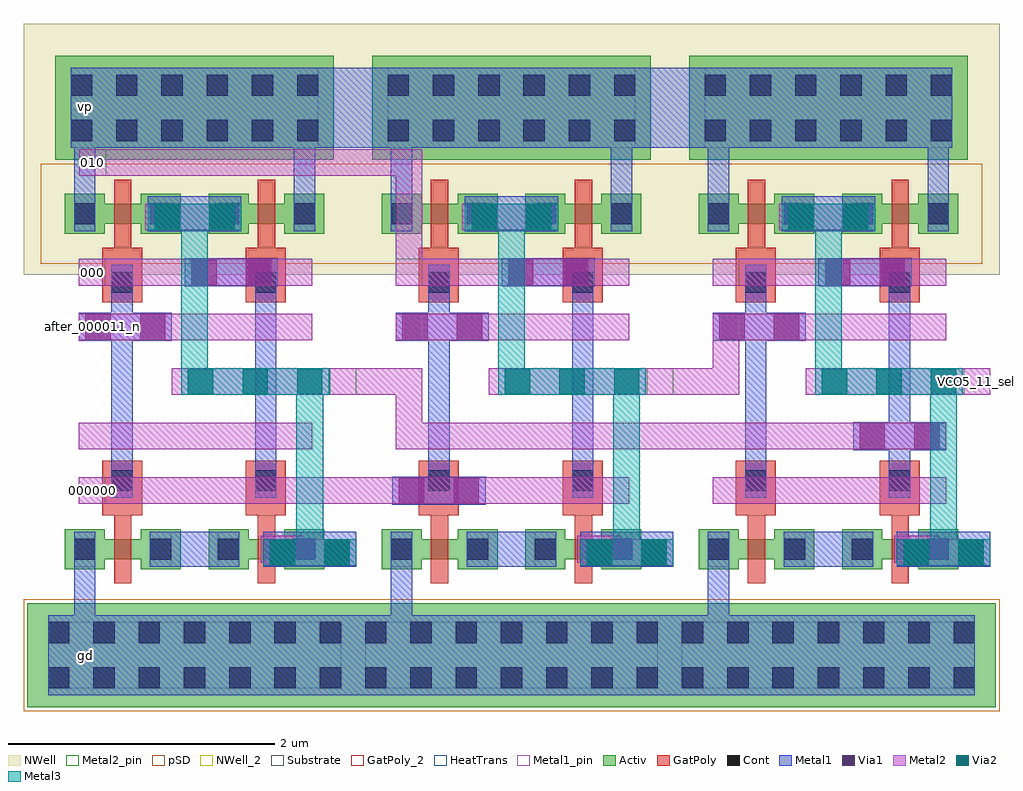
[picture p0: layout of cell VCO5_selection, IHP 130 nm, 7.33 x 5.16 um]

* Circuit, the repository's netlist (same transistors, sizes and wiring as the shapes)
** sch_path: /foss/designs/CHIP-PLL/schematics/divider/schematics/VCO5_selection.sch
.subckt VCO5_selection gd VP VCO5_11_sel 000 after_000011_n 010 000000
*.PININFO gd:B VP:B VCO5_11_sel:O 000:I after_000011_n:I 010:I 000000:I
x1 VP gd 010 net2 000000 NAND_2in_dek
x2 VP gd net1 VCO5_11_sel net2 NAND_2in_dek
x3 VP gd 000 net1 after_000011_n NAND_2in_dek
.ends

* expanding   symbol:  NAND_2in_dek.sym # of pins=5
** sym_path: /foss/designs/CHIP-PLL/schematics/divider/schematics/NAND_2in_dek.sym
** sch_path: /foss/designs/CHIP-PLL/schematics/divider/schematics/NAND_2in_dek.sch
.subckt NAND_2in_dek VP GND a y b
*.PININFO y:O GND:B a:I VP:B b:I
MM1 y a net1 GND sg13_lv_nmos w=0.15u l=0.13u ng=1
MM3 net1 b GND GND sg13_lv_nmos w=0.15u l=0.13u ng=1
MM2 y b VP VP sg13_lv_pmos w=0.15u l=0.13u ng=1
MM4 y a VP VP sg13_lv_pmos w=0.15u l=0.13u ng=1
.ends

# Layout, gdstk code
from math import pi, radians
import gdstk
lib = gdstk.Library(unit=1e-6, precision=1e-09)
def R(c, l, rs):  # rectangles x0, y0, x1, y1
    for r in rs: c.add(gdstk.rectangle(r[:2], r[2:], *l))
def A(c, l, x, y, w, h, nx, ny, dx, dy):  # array of equal rectangles
    R(c, l, [(x+i*dx, y+j*dy, x+i*dx+w, y+j*dy+h) for i in range(nx) for j in range(ny)])
Activ = (1, 0)
GatPoly = (5, 0)
GatPoly_2 = (5, 2)
Cont = (6, 0)
Metal1 = (8, 0)
Metal1_pin = (8, 2)
Metal2 = (10, 0)
Metal2_pin = (10, 2)
pSD = (14, 0)
Via1 = (19, 0)
Via2 = (29, 0)
Metal3 = (30, 0)
NWell = (31, 0)
NWell_2 = (31, 2)
Substrate = (40, 0)
HeatTrans = (51, 0)

via_4_1 = lib.new_cell('Via$4$1')
R(via_4_1, Metal2, [(-0.1,-0.35,0.1,0.35)])
R(via_4_1, Via2, [(-0.095,-0.3,0.095,-0.11), (-0.095,0.11,0.095,0.3)])
R(via_4_1, Metal3, [(-0.1,-0.35,0.1,0.35)])

via_2_1 = lib.new_cell('Via$2$1')
R(via_2_1, Metal1, [(-0.105,-0.35,0.105,0.35)])
R(via_2_1, Metal2, [(-0.1,-0.35,0.1,0.35)])
R(via_2_1, Via1, [(-0.095,-0.3,0.095,-0.11), (-0.095,0.11,0.095,0.3)])

ntap1_1 = lib.new_cell('ntap1$1')
R(ntap1_1, Activ, [(0,0,2.09,0.78)])
A(ntap1_1, Cont, 0.115, 0.14, 0.16, 0.16, 6, 2, 0.34, 0.34)
R(ntap1_1, Metal1, [(0.115,0.09,1.975,0.69)])
R(ntap1_1, Metal1_pin, [(0.115,0.09,1.975,0.69), (0.115,0.14,1.975,0.64)])
R(ntap1_1, NWell, [(-0.24,-0.24,2.33,1.02), (0,0,2.09,0.78)])
R(ntap1_1, NWell_2, [(0,0,2.09,0.78)])
ntap1_1.add(gdstk.Label('well', (1.045,0.01), layer=63, texttype=0))
ntap1_1.add(gdstk.Label('well', (1.045,0.01), layer=31, texttype=0))

ptap1_1 = lib.new_cell('ptap1$1')
R(ptap1_1, Activ, [(0,0,2.51,0.78)])
A(ptap1_1, Cont, 0.155, 0.14, 0.16, 0.16, 7, 2, 0.34, 0.34)
R(ptap1_1, Metal1, [(0.155,0.09,2.355,0.69), (0.155,0.14,2.355,0.64)])
R(ptap1_1, Metal1_pin, [(0.155,0.14,2.355,0.64)])
R(ptap1_1, pSD, [(-0.03,-0.03,2.54,0.81)])
R(ptap1_1, Substrate, [(0,0,2.51,0.78)])
ptap1_1.add(gdstk.Label('sub!', (1.255,0.01), layer=63, texttype=0))
ptap1_1.add(gdstk.Label('sub!', (1.255,0.01), layer=40, texttype=0))

nmos_1 = lib.new_cell('nmos$1')
R(nmos_1, Activ, [(0,0,0.3,0.3), (0.57,0,0.87,0.3), (0,0.075,0.87,0.225)])
R(nmos_1, GatPoly, [(0.37,-0.105,0.5,0.405)])
R(nmos_1, GatPoly_2, [(0.37,-0.105,0.5,0.405)])
R(nmos_1, Cont, [(0.07,0.07,0.23,0.23), (0.64,0.07,0.8,0.23)])
R(nmos_1, Metal1, [(0.07,0.02,0.23,0.28), (0.64,0.02,0.8,0.28)])
R(nmos_1, Metal1_pin, [(0.07,0.02,0.23,0.28), (0.64,0.02,0.8,0.28)])
R(nmos_1, HeatTrans, [(0.37,-0.105,0.5,0.405)])
nmos_1.add(gdstk.Label('nmos', (0.435,0.15), layer=63, texttype=0))
nmos_1.add(gdstk.Label('nmos', (0.435,0.15), layer=51, texttype=0))

pmos_1 = lib.new_cell('pmos$1')
R(pmos_1, Activ, [(0,0,0.3,0.3), (0.57,0,0.87,0.3), (0,0.075,0.87,0.225)])
R(pmos_1, GatPoly, [(0.37,-0.105,0.5,0.405), (0.37,-0.105,0.5,0.405)])
R(pmos_1, Cont, [(0.07,0.07,0.23,0.23), (0.64,0.07,0.8,0.23)])
R(pmos_1, Metal1, [(0.07,0.02,0.23,0.28), (0.07,0.02,0.23,0.28), (0.64,0.02,0.8,0.28), (0.64,0.02,0.8,0.28)])
R(pmos_1, pSD, [(-0.18,-0.225,1.05,0.525)])
R(pmos_1, NWell, [(-0.31,-0.31,1.18,0.61)])
R(pmos_1, HeatTrans, [(0.37,-0.105,0.5,0.405)])
pmos_1.add(gdstk.Label('pmos', (0.435,0.15), layer=63, texttype=0))
pmos_1.add(gdstk.Label('pmos', (0.435,0.15), layer=51, texttype=0))

via_8 = lib.new_cell('Via$8')
R(via_8, GatPoly, [(-0.15,-0.15,0.15,0.15)])
R(via_8, Cont, [(-0.08,-0.08,0.08,0.08)])
R(via_8, Metal1, [(-0.13,-0.08,0.13,0.08)])

via_7_1 = lib.new_cell('Via$7$1')
R(via_7_1, Metal2, [(-0.555,-0.1,0.555,0.1)])
A(via_7_1, Via2, -0.505, -0.095, 0.19, 0.19, 3, 1, 0.41, 0)
R(via_7_1, Metal3, [(-0.555,-0.1,0.555,0.1)])

via_6_1 = lib.new_cell('Via$6$1')
R(via_6_1, Metal1, [(-0.35,-0.105,0.35,0.105)])
R(via_6_1, Metal2, [(-0.35,-0.1,0.35,0.1)])
R(via_6_1, Via1, [(-0.3,-0.095,-0.11,0.095), (0.11,-0.095,0.3,0.095)])

nand_2in_dek = lib.new_cell('NAND_2in_dek')
R(nand_2in_dek, GatPoly, [(9.375,7.165,9.675,7.275), (10.455,7.165,10.755,7.275), (9.375,9.065,9.675,9.175), (10.455,9.065,10.755,9.175)])
R(nand_2in_dek, Metal1, [(9.735,6.78,10.405,7.04), (10.585,6.78,11.285,7.04), (9.72,9.3,10.42,9.56)])
R(nand_2in_dek, Metal1_pin, [(9.16,6.015,9.36,6.215), (9.325,10.12,9.525,10.32)])
R(nand_2in_dek, Metal2_pin, [(11.085,8.07,11.285,8.27), (9.2,8.48,9.4,8.68), (9.2,8.89,9.4,9.09)])
nand_2in_dek.add(gdstk.FlexPath([(9.9,8.17),(11.285,8.17)], 0.2, ends="flush", simple_path=True, layer=10, datatype=0))  # Metal2
nand_2in_dek.add(gdstk.FlexPath([(10.895,6.91),(10.565,6.91)], 0.2, ends="flush", simple_path=True, layer=10, datatype=0))  # Metal2
nand_2in_dek.add(gdstk.FlexPath([(9.865,9.405),(9.7,9.405)], 0.2, ends="flush", simple_path=True, layer=10, datatype=0))  # Metal2
nand_2in_dek.add(gdstk.FlexPath([(10.43,8.58),(10.43,8.58)], 0.2, ends="flush", simple_path=True, layer=10, datatype=0))  # Metal2
nand_2in_dek.add(gdstk.FlexPath([(9.2,8.99),(10.955,8.99)], 0.2, ends="flush", simple_path=True, layer=10, datatype=0))  # Metal2
nand_2in_dek.add(gdstk.FlexPath([(9.2,8.58),(10.955,8.58)], 0.2, ends="flush", simple_path=True, layer=10, datatype=0))  # Metal2
nand_2in_dek.add(gdstk.FlexPath([(9.2,7.76),(10.955,7.76)], 0.2, ends="flush", simple_path=True, layer=10, datatype=0))  # Metal2
nand_2in_dek.add(gdstk.FlexPath([(9.2,7.35),(10.955,7.35)], 0.2, ends="flush", simple_path=True, layer=10, datatype=0))  # Metal2
nand_2in_dek.add(gdstk.FlexPath([(10.07,9.305),(10.07,8.07)], 0.2, ends="flush", simple_path=True, layer=30, datatype=0))  # Metal3
nand_2in_dek.add(gdstk.FlexPath([(10.935,6.885),(10.935,8.07)], 0.2, ends="flush", simple_path=True, layer=30, datatype=0))  # Metal3
nand_2in_dek.add(gdstk.FlexPath([(9.245,9.56),(9.245,10.525)], 0.16, ends="flush", simple_path=True, layer=8, datatype=0))  # Metal1
nand_2in_dek.add(gdstk.FlexPath([(10.895,9.56),(10.895,10.525)], 0.16, ends="flush", simple_path=True, layer=8, datatype=0))  # Metal1
nand_2in_dek.add(gdstk.FlexPath([(9.245,6.78),(9.245,6.415)], 0.16, ends="flush", simple_path=True, layer=8, datatype=0))  # Metal1
nand_2in_dek.add(gdstk.FlexPath([(9.525,7.555),(9.525,8.785)], 0.16, ends="flush", simple_path=True, layer=8, datatype=0))  # Metal1
nand_2in_dek.add(gdstk.FlexPath([(10.605,7.555),(10.605,8.785)], 0.16, ends="flush", simple_path=True, layer=8, datatype=0))  # Metal1
nand_2in_dek.add(gdstk.Reference(via_4_1, (10.935,6.885), rotation=3*pi/2))
nand_2in_dek.add(gdstk.Reference(via_2_1, (10.935,6.885), rotation=3*pi/2))
nand_2in_dek.add(gdstk.Reference(ntap1_1, (9.025,9.835)))
nand_2in_dek.add(gdstk.Reference(ptap1_1, (8.815,5.725)))
nand_2in_dek.add(gdstk.Reference(nmos_1, (10.175,6.76)))
nand_2in_dek.add(gdstk.Reference(pmos_1, (10.175,9.28)))
nand_2in_dek.add(gdstk.Reference(nmos_1, (9.095,6.76)))
nand_2in_dek.add(gdstk.Reference(pmos_1, (9.095,9.28)))
nand_2in_dek.add(gdstk.Reference(via_8, (9.525,8.915), rotation=pi/2))
nand_2in_dek.add(gdstk.Reference(via_8, (10.605,8.915), rotation=pi/2))
nand_2in_dek.add(gdstk.Reference(via_8, (10.605,7.425), rotation=3*pi/2))
nand_2in_dek.add(gdstk.Reference(via_8, (9.525,7.425), rotation=3*pi/2))
nand_2in_dek.add(gdstk.Reference(via_2_1, (9.55,8.58), rotation=3*pi/2))
nand_2in_dek.add(gdstk.Reference(via_7_1, (10.525,8.17)))
nand_2in_dek.add(gdstk.Reference(via_2_1, (10.07,9.405), rotation=3*pi/2))
nand_2in_dek.add(gdstk.Reference(via_4_1, (10.07,9.405), rotation=3*pi/2))
nand_2in_dek.add(gdstk.Reference(via_6_1, (10.345,8.99)))
nand_2in_dek.add(gdstk.Label('y', (11.185,8.17), layer=10, texttype=25))
nand_2in_dek.add(gdstk.Label('b', (9.315,8.575), layer=10, texttype=25))
nand_2in_dek.add(gdstk.Label('a', (9.3,8.99), layer=10, texttype=25))
nand_2in_dek.add(gdstk.Label('VP', (9.295,10.22), layer=8, texttype=25))
nand_2in_dek.add(gdstk.Label('GND', (9.26,6.115), layer=8, texttype=25))

via_9 = lib.new_cell('Via$9')
R(via_9, Metal1, [(-0.35,-0.105,0.35,0.105)])
R(via_9, Metal2, [(-0.35,-0.1,0.35,0.1)])
R(via_9, Via1, [(-0.3,-0.095,-0.11,0.095), (0.11,-0.095,0.3,0.095)])

via = lib.new_cell('Via')
R(via, Metal1, [(-0.35,-0.105,0.35,0.105)])
R(via, Metal2, [(-0.35,-0.1,0.35,0.1)])
R(via, Via1, [(-0.3,-0.095,-0.11,0.095), (0.11,-0.095,0.3,0.095)])

vco5_selection = lib.new_cell('VCO5_selection')
R(vco5_selection, Metal1, [(20.74,17.585,27.7,18.185), (20.91,21.695,27.53,22.295)])
R(vco5_selection, Metal1_pin, [(20.92,17.785,21.12,17.985), (20.92,21.905,21.12,22.105)])
R(vco5_selection, Metal2_pin, [(20.97,19.02,21.17,19.22), (27.615,19.84,27.815,20.04), (20.97,20.25,21.17,20.45), (20.97,20.66,21.17,20.86), (20.975,21.485,21.175,21.685)])
R(vco5_selection, pSD, [(20.75,20.825,25.685,21.575)])
vco5_selection.add(gdstk.FlexPath([(23.45,20.76),(23.45,21.585),(21.75,21.585)], 0.2, ends="flush", simple_path=True, layer=10, datatype=0))  # Metal2
vco5_selection.add(gdstk.FlexPath([(21.75,21.585),(20.975,21.585)], 0.2, ends="flush", simple_path=True, layer=10, datatype=0))  # Metal2
vco5_selection.add(gdstk.FlexPath([(22.56,19.12),(23.43,19.12)], 0.2, ends="flush", simple_path=True, layer=10, datatype=0))  # Metal2
vco5_selection.add(gdstk.FlexPath([(22.955,19.94),(23.45,19.94),(23.45,19.43)], 0.2, ends="flush", simple_path=True, layer=10, datatype=0))  # Metal2
vco5_selection.add(gdstk.FlexPath([(25.335,19.94),(25.83,19.94),(25.83,20.45)], 0.2, ends="flush", simple_path=True, layer=10, datatype=0))  # Metal2
vco5_selection.add(gdstk.FlexPath([(24.915,19.53),(27.135,19.53)], 0.2, ends="flush", simple_path=True, layer=10, datatype=0))  # Metal2
vco5_selection.add(gdstk.FlexPath([(23.675,19.12),(23.675,19.12)], 0.2, ends="flush", simple_path=True, layer=10, datatype=0))  # Metal2
vco5_selection.add(gdstk.Reference(nand_2in_dek, (11.77,11.77)))
vco5_selection.add(gdstk.Reference(nand_2in_dek, (14.15,11.77)))
vco5_selection.add(gdstk.Reference(nand_2in_dek, (16.53,11.77)))
vco5_selection.add(gdstk.Reference(via_9, (27.135,19.53)))
vco5_selection.add(gdstk.Reference(via, (23.675,19.12)))
vco5_selection.add(gdstk.Label('000', (21.07,20.76), layer=10, texttype=25))
vco5_selection.add(gdstk.Label('after_000011_n', (21.07,20.35), layer=10, texttype=25))
vco5_selection.add(gdstk.Label('000000', (21.07,19.12), layer=10, texttype=25))
vco5_selection.add(gdstk.Label('010', (21.075,21.585), layer=10, texttype=25))
vco5_selection.add(gdstk.Label('VCO5_11_sel', (27.715,19.94), layer=10, texttype=25))
vco5_selection.add(gdstk.Label('vp', (21.02,22.005), layer=8, texttype=25))
vco5_selection.add(gdstk.Label('gd', (21.02,17.885), layer=8, texttype=25))

lib.write_gds('VCO5_selection.gds')
